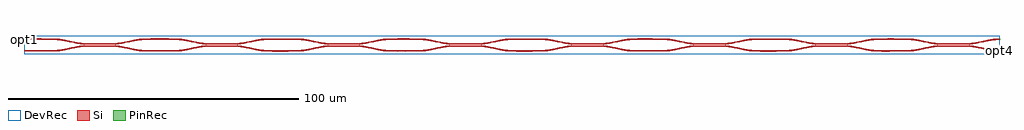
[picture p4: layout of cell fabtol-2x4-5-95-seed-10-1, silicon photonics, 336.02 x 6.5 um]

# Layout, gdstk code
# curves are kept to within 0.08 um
import gdstk
lib = gdstk.Library(unit=1e-6, precision=1e-09)
def R(c, l, rs):  # rectangles x0, y0, x1, y1
    for r in rs: c.add(gdstk.rectangle(r[:2], r[2:], *l))
def P(c, l, *ps):  # polygons
    for p in ps: c.add(gdstk.Polygon(p, *l))
Si = (1, 0)
PinRec = (1, 10)
DevRec = (68, 0)

layer_3_0_phase_sec_3_23 = lib.new_cell('layer-3_0_phase_sec_3$23')
P(layer_3_0_phase_sec_3_23, Si, [(1.33,-0.244),(0,-0.225),(0,0.225),(10,0.225),(10,-0.225)])

layer_3_0_phase_sec_2_23 = lib.new_cell('layer-3_0_phase_sec_2$23')
P(layer_3_0_phase_sec_2_23, Si, [(4.397,-0.235),(0,-0.225),(0,0.225),(10,0.225),(10,-0.225)])

layer_3_0_phase_sec_1_23 = lib.new_cell('layer-3_0_phase_sec_1$23')
P(layer_3_0_phase_sec_1_23, Si, [(6.961,-0.253),(0,-0.225),(0,0.225),(10,0.225),(10,-0.225)])

layer_3_0_phase_sec_0_23 = lib.new_cell('layer-3_0_phase_sec_0$23')
P(layer_3_0_phase_sec_0_23, Si, [(7.334,-0.228),(0,-0.225),(0,0.225),(10,0.225),(10,-0.225)])

layer_0_0_phase_sec_3_23 = lib.new_cell('layer-0_0_phase_sec_3$23')
P(layer_0_0_phase_sec_3_23, Si, [(1.376,-0.232),(0,-0.225),(0,0.225),(10,0.225),(10,-0.225)])

layer_1_0_phase_sec_0_23 = lib.new_cell('layer-1_0_phase_sec_0$23')
P(layer_1_0_phase_sec_0_23, Si, [(3.141,-0.233),(0,-0.225),(0,0.225),(10,0.225),(10,-0.225)])

dc_arm_down_23 = lib.new_cell('dc_arm_down$23')
R(dc_arm_down_23, Si, [(12,-0.55,20,-0.1)])
P(dc_arm_down_23, Si, [(32,-2.225),(30.861,-2.188),(29.344,-2.033),(22.966,-0.793),(21.481,-0.613),(20,-0.55),(20,-0.1),(21.139,-0.137),(22.656,-0.292),(29.034,-1.532),(30.519,-1.712),(32,-1.775)],
  [(0,-2.225),(0,-1.775),(1.481,-1.712),(2.966,-1.532),(9.344,-0.292),(10.861,-0.137),(12,-0.1),(12,-0.55),(10.519,-0.613),(9.034,-0.793),(2.656,-2.033),(1.139,-2.188)])

dc_arm_up_23 = lib.new_cell('dc_arm_up$23')
R(dc_arm_up_23, Si, [(12,0.1,20,0.55)])
P(dc_arm_up_23, Si, [(20,0.1),(20,0.55),(21.481,0.613),(22.966,0.793),(29.344,2.033),(30.861,2.188),(32,2.225),(32,1.775),(30.519,1.712),(29.034,1.532),(22.656,0.292),(21.139,0.137)],
  [(12,0.1),(10.861,0.137),(9.344,0.292),(2.966,1.532),(1.481,1.712),(0,1.775),(0,2.225),(1.139,2.188),(2.656,2.033),(9.034,0.793),(10.519,0.613),(12,0.55)])

dc_23 = lib.new_cell('dc$23')
dc_23.add(gdstk.Reference(dc_arm_down_23, (0,0)))
dc_23.add(gdstk.Reference(dc_arm_up_23, (0,0)))

layer_0_0_phase_sec_2_23 = lib.new_cell('layer-0_0_phase_sec_2$23')
P(layer_0_0_phase_sec_2_23, Si, [(7.854,-0.246),(0,-0.225),(0,0.225),(10,0.225),(10,-0.225)])

layer_1_0_phase_sec_1_23 = lib.new_cell('layer-1_0_phase_sec_1$23')
P(layer_1_0_phase_sec_1_23, Si, [(2.804,-0.246),(0,-0.225),(0,0.225),(10,0.225),(10,-0.225)])

layer_1_0_phase_sec_2_23 = lib.new_cell('layer-1_0_phase_sec_2$23')
P(layer_1_0_phase_sec_2_23, Si, [(3.986,-0.235),(0,-0.225),(0,0.225),(10,0.225),(10,-0.225)])

layer_0_0_phase_sec_1_23 = lib.new_cell('layer-0_0_phase_sec_1$23')
P(layer_0_0_phase_sec_1_23, Si, [(2.685,-0.227),(0,-0.225),(0,0.225),(10,0.225),(10,-0.225)])

layer_1_0_phase_sec_3_23 = lib.new_cell('layer-1_0_phase_sec_3$23')
P(layer_1_0_phase_sec_3_23, Si, [(2.637,-0.243),(0,-0.225),(0,0.225),(10,0.225),(10,-0.225)])

layer_2_0_phase_sec_0_23 = lib.new_cell('layer-2_0_phase_sec_0$23')
P(layer_2_0_phase_sec_0_23, Si, [(0,-0.225),(0,0.225),(10,0.225),(10,-0.225)])

layer_2_0_phase_sec_1_23 = lib.new_cell('layer-2_0_phase_sec_1$23')
P(layer_2_0_phase_sec_1_23, Si, [(1.386,-0.254),(0,-0.225),(0,0.225),(10,0.225),(10,-0.225)])

layer_0_0_phase_sec_0_23 = lib.new_cell('layer-0_0_phase_sec_0$23')
P(layer_0_0_phase_sec_0_23, Si, [(3.571,-0.241),(0,-0.225),(0,0.225),(10,0.225),(10,-0.225)])

layer_2_0_phase_sec_2_23 = lib.new_cell('layer-2_0_phase_sec_2$23')
P(layer_2_0_phase_sec_2_23, Si, [(1.274,-0.24),(0,-0.225),(0,0.225),(10,0.225),(10,-0.225)])

layer_2_0_phase_sec_3_23 = lib.new_cell('layer-2_0_phase_sec_3$23')
P(layer_2_0_phase_sec_3_23, Si, [(3.221,-0.239),(0,-0.225),(0,0.225),(10,0.225),(10,-0.225)])

fabtol_2x4_5_95_seed_10_ = lib.new_cell('fabtol-2x4-5-95-seed-10-1')
R(fabtol_2x4_5_95_seed_10_, DevRec, [(0,-1,336,5.5)])
fabtol_2x4_5_95_seed_10_.add(gdstk.FlexPath([(335.99,0.254),(336.01,0.254)], 0.45, ends="flush", simple_path=True, layer=1, datatype=10))  # PinRec
fabtol_2x4_5_95_seed_10_.add(gdstk.FlexPath([(335.99,4.254),(336.01,4.254)], 0.45, ends="flush", simple_path=True, layer=1, datatype=10))  # PinRec
fabtol_2x4_5_95_seed_10_.add(gdstk.FlexPath([(0.01,4.254),(-0.01,4.254)], 0.45, ends="flush", simple_path=True, layer=1, datatype=10))  # PinRec
fabtol_2x4_5_95_seed_10_.add(gdstk.Reference(layer_3_0_phase_sec_3_23, (294,0.254)))
fabtol_2x4_5_95_seed_10_.add(gdstk.Reference(layer_3_0_phase_sec_2_23, (294,4.254)))
fabtol_2x4_5_95_seed_10_.add(gdstk.Reference(layer_3_0_phase_sec_1_23, (252,0.254)))
fabtol_2x4_5_95_seed_10_.add(gdstk.Reference(layer_3_0_phase_sec_0_23, (252,4.254)))
fabtol_2x4_5_95_seed_10_.add(gdstk.Reference(layer_0_0_phase_sec_3_23, (42,0.254)))
fabtol_2x4_5_95_seed_10_.add(gdstk.Reference(layer_1_0_phase_sec_0_23, (84,4.254)))
fabtol_2x4_5_95_seed_10_.add(gdstk.Reference(dc_23, (10,2.254)))
fabtol_2x4_5_95_seed_10_.add(gdstk.Reference(dc_23, (52,2.254)))
fabtol_2x4_5_95_seed_10_.add(gdstk.Reference(dc_23, (94,2.254)))
fabtol_2x4_5_95_seed_10_.add(gdstk.Reference(dc_23, (136,2.254)))
fabtol_2x4_5_95_seed_10_.add(gdstk.Reference(dc_23, (178,2.254)))
fabtol_2x4_5_95_seed_10_.add(gdstk.Reference(dc_23, (220,2.254)))
fabtol_2x4_5_95_seed_10_.add(gdstk.Reference(dc_23, (262,2.254)))
fabtol_2x4_5_95_seed_10_.add(gdstk.Reference(dc_23, (304,2.254)))
fabtol_2x4_5_95_seed_10_.add(gdstk.Reference(layer_0_0_phase_sec_2_23, (42,4.254)))
fabtol_2x4_5_95_seed_10_.add(gdstk.Reference(layer_1_0_phase_sec_1_23, (84,0.254)))
fabtol_2x4_5_95_seed_10_.add(gdstk.Reference(layer_1_0_phase_sec_2_23, (126,4.254)))
fabtol_2x4_5_95_seed_10_.add(gdstk.Reference(layer_0_0_phase_sec_1_23, (0,0.254)))
fabtol_2x4_5_95_seed_10_.add(gdstk.Reference(layer_1_0_phase_sec_3_23, (126,0.254)))
fabtol_2x4_5_95_seed_10_.add(gdstk.Reference(layer_2_0_phase_sec_0_23, (168,4.254)))
fabtol_2x4_5_95_seed_10_.add(gdstk.Reference(layer_2_0_phase_sec_1_23, (168,0.254)))
fabtol_2x4_5_95_seed_10_.add(gdstk.Reference(layer_0_0_phase_sec_0_23, (0,4.254)))
fabtol_2x4_5_95_seed_10_.add(gdstk.Reference(layer_2_0_phase_sec_2_23, (210,4.254)))
fabtol_2x4_5_95_seed_10_.add(gdstk.Reference(layer_2_0_phase_sec_3_23, (210,0.254)))
fabtol_2x4_5_95_seed_10_.add(gdstk.Label('opt4', (336,0.254), layer=1, texttype=10))
fabtol_2x4_5_95_seed_10_.add(gdstk.Label('opt3', (336,4.254), layer=1, texttype=10))
fabtol_2x4_5_95_seed_10_.add(gdstk.Label('opt1', (0,4.254), layer=1, texttype=10))

lib.write_gds('fabtol-2x4-5-95-seed-10-1.gds')
